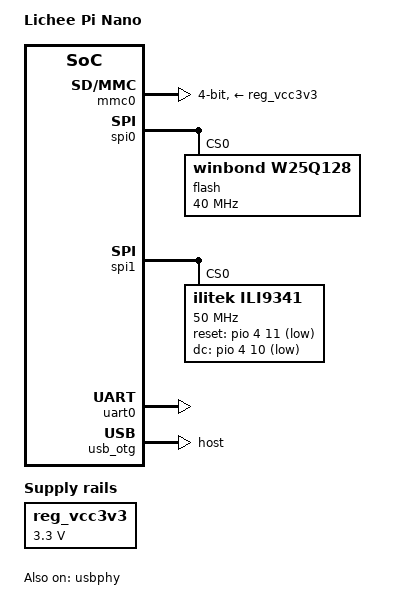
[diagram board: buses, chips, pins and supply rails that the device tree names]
// SPDX-License-Identifier: (GPL-2.0+ OR X11)
/*
 * Copyright 2018 Icenowy Zheng <icenowy@aosc.io>
 */

/dts-v1/;
#include "suniv-f1c100s.dtsi"

#include <dt-bindings/gpio/gpio.h>

/ {
	model = "Lichee Pi Nano";
	compatible = "licheepi,licheepi-nano", "allwinner,suniv-f1c100s",
		     "allwinner,suniv";

	aliases {
		serial0 = &uart0;
		spi0 = &spi0;
		spi1 = &spi1;
	};

	chosen {
		stdout-path = "serial0:115200n8";
		/*/delete-node/ framebuffer@0;*/
	};

	/*panel: panel {
		compatible = "qiaodian,qd43003c0-40", "simple-panel";
		#address-cells = <1>;
		#size-cells = <0>;
		enable-gpios = <&pio 4 6 GPIO_ACTIVE_HIGH>;

		port@0 {
			reg = <0>;
			#address-cells = <1>;
			#size-cells = <0>;

			panel_input: endpoint@0 {
				reg = <0>;
				remote-endpoint = <&tcon0_out_lcd>;
			};
		};
	};*/

	reg_vcc3v3: vcc3v3 {
		compatible = "regulator-fixed";
		regulator-name = "vcc3v3";
		regulator-min-microvolt = <3300000>;
		regulator-max-microvolt = <3300000>;
	};
};




&mmc0 {
	vmmc-supply = <&reg_vcc3v3>;
	bus-width = <4>;
	broken-cd;
	status = "okay";
};

&otg_sram {
	status = "okay";
};

&spi0 {
	pinctrl-names = "default";
	pinctrl-0 = <&spi0_pins_a>;
	status = "okay";

	flash@0 {
		#address-cells = <1>;
		#size-cells = <1>;
		compatible = "winbond,w25q128", "jedec,spi-nor";
		reg = <0>;
		spi-max-frequency = <40000000>;
	};
};
&spi1 {
       status = "okay";
       pinctrl-0 = <&spi1_pins_a>;
       pinctrl-names = "default";
       ili9341@0 {
               compatible = "ilitek,ili9341";
               reg = <0>;
               spi-max-frequency = <50000000>;   /*96m*/
               bgr;
	       rotate = <180>;
               fps = <30>;
               buswidth = <8>;
               reset-gpios = <&pio 4 11 GPIO_ACTIVE_LOW>;
               dc-gpios = <&pio 4 10 GPIO_ACTIVE_LOW>;/*initial seq  
gamma */
               debug = <0>;
       };
};
/*
&tcon0 {
	pinctrl-names = "default";
	pinctrl-0 = <&lcd_rgb666_pins>;
	status = "okay";
};

&tcon0_out {
	tcon0_out_lcd: endpoint@0 {
		reg = <0>;
	remote-endpoint = <&panel_input>;
	};
};*/

&uart0 {
	pinctrl-names = "default";
	pinctrl-0 = <&uart0_pins_a>;
	status = "okay";
};

&usb_otg {
	dr_mode = "host";
	status = "okay";
};

&usbphy {
	//pinctrl-0 = <&usb_phy_id>;
	//usb0_id_det-gpio = <&pio 4 4 GPIO_ACTIVE_HIGH>; /*PE4 */
	status = "okay";

};



